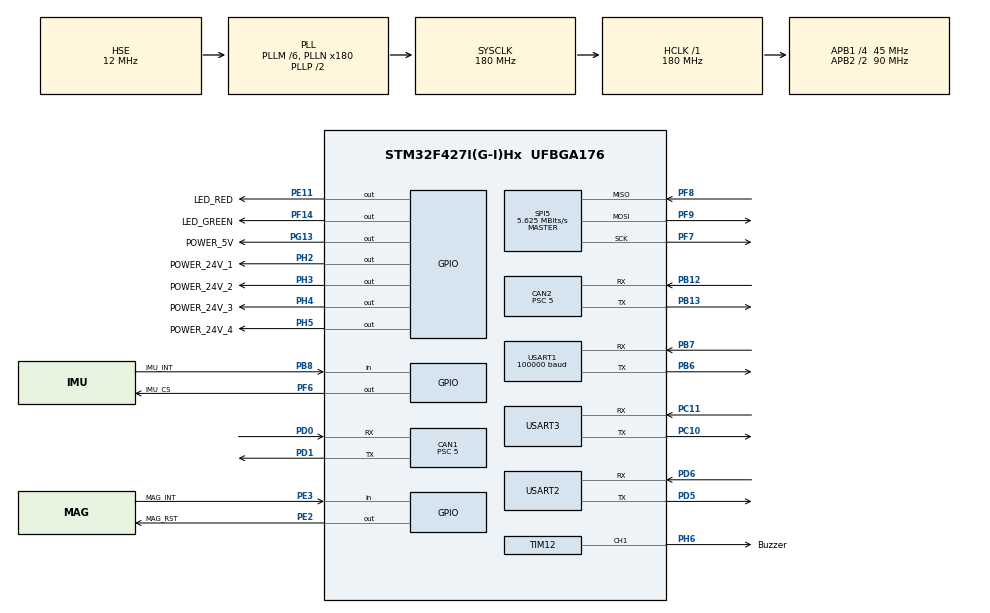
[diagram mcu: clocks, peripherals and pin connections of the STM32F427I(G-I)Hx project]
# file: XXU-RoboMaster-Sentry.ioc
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CAN1.ABOM=ENABLE
CAN1.BS1=CAN_BS1_3TQ
CAN1.BS2=CAN_BS2_5TQ
CAN1.CalculateBaudRate=1000000
CAN1.CalculateTimeBit=1000
CAN1.CalculateTimeQuantum=111.11111111111111
CAN1.NART=ENABLE
CAN1.Prescaler=5
CAN2.ABOM=ENABLE
CAN2.BS1=CAN_BS1_3TQ
CAN2.BS2=CAN_BS2_5TQ
CAN2.CalculateBaudRate=1000000
CAN2.CalculateTimeBit=1000
CAN2.CalculateTimeQuantum=111.11111111111111
CAN2.NART=ENABLE
CAN2.Prescaler=5
Dma.Request0=USART1_RX
Dma.Request1=USART3_RX
Dma.Request2=USART3_TX
Dma.Request3=USART1_TX
Dma.Request4=USART2_RX
Dma.Request5=USART2_TX
Dma.USART1_RX.0.Direction=DMA_PERIPH_TO_MEMORY
Dma.USART1_RX.0.FIFOMode=DMA_FIFOMODE_DISABLE
Dma.USART1_RX.0.Instance=DMA2_Stream2
Dma.USART1_RX.0.MemDataAlignment=DMA_MDATAALIGN_BYTE
Dma.USART1_RX.0.MemInc=DMA_MINC_ENABLE
Dma.USART1_RX.0.Mode=DMA_CIRCULAR
Dma.USART1_RX.0.PeriphDataAlignment=DMA_PDATAALIGN_BYTE
Dma.USART1_RX.0.PeriphInc=DMA_PINC_DISABLE
Dma.USART1_RX.0.Priority=DMA_PRIORITY_LOW
Dma.USART1_TX.3.Direction=DMA_MEMORY_TO_PERIPH
Dma.USART1_TX.3.FIFOMode=DMA_FIFOMODE_DISABLE
Dma.USART1_TX.3.Instance=DMA2_Stream7
Dma.USART1_TX.3.MemDataAlignment=DMA_MDATAALIGN_BYTE
Dma.USART1_TX.3.MemInc=DMA_MINC_ENABLE
Dma.USART1_TX.3.Mode=DMA_NORMAL
Dma.USART1_TX.3.PeriphDataAlignment=DMA_PDATAALIGN_BYTE
Dma.USART1_TX.3.PeriphInc=DMA_PINC_DISABLE
Dma.USART1_TX.3.Priority=DMA_PRIORITY_LOW
Dma.USART2_RX.4.Direction=DMA_PERIPH_TO_MEMORY
Dma.USART2_RX.4.FIFOMode=DMA_FIFOMODE_DISABLE
Dma.USART2_RX.4.Instance=DMA1_Stream5
Dma.USART2_RX.4.MemDataAlignment=DMA_MDATAALIGN_BYTE
Dma.USART2_RX.4.MemInc=DMA_MINC_ENABLE
Dma.USART2_RX.4.Mode=DMA_NORMAL
Dma.USART2_RX.4.PeriphDataAlignment=DMA_PDATAALIGN_BYTE
Dma.USART2_RX.4.PeriphInc=DMA_PINC_DISABLE
Dma.USART2_RX.4.Priority=DMA_PRIORITY_LOW
Dma.USART2_TX.5.Direction=DMA_MEMORY_TO_PERIPH
Dma.USART2_TX.5.FIFOMode=DMA_FIFOMODE_DISABLE
Dma.USART2_TX.5.Instance=DMA1_Stream6
Dma.USART2_TX.5.MemDataAlignment=DMA_MDATAALIGN_BYTE
Dma.USART2_TX.5.MemInc=DMA_MINC_ENABLE
Dma.USART2_TX.5.Mode=DMA_NORMAL
Dma.USART2_TX.5.PeriphDataAlignment=DMA_PDATAALIGN_BYTE
Dma.USART2_TX.5.PeriphInc=DMA_PINC_DISABLE
Dma.USART2_TX.5.Priority=DMA_PRIORITY_LOW
Dma.USART3_RX.1.Direction=DMA_PERIPH_TO_MEMORY
Dma.USART3_RX.1.FIFOMode=DMA_FIFOMODE_DISABLE
Dma.USART3_RX.1.Instance=DMA1_Stream1
Dma.USART3_RX.1.MemDataAlignment=DMA_MDATAALIGN_BYTE
Dma.USART3_RX.1.MemInc=DMA_MINC_ENABLE
Dma.USART3_RX.1.Mode=DMA_NORMAL
Dma.USART3_RX.1.PeriphDataAlignment=DMA_PDATAALIGN_BYTE
Dma.USART3_RX.1.PeriphInc=DMA_PINC_DISABLE
Dma.USART3_RX.1.Priority=DMA_PRIORITY_LOW
Dma.USART3_TX.2.Direction=DMA_MEMORY_TO_PERIPH
Dma.USART3_TX.2.FIFOMode=DMA_FIFOMODE_DISABLE
Dma.USART3_TX.2.Instance=DMA1_Stream3
Dma.USART3_TX.2.MemDataAlignment=DMA_MDATAALIGN_BYTE
Dma.USART3_TX.2.MemInc=DMA_MINC_ENABLE
Dma.USART3_TX.2.Mode=DMA_NORMAL
Dma.USART3_TX.2.PeriphDataAlignment=DMA_PDATAALIGN_BYTE
Dma.USART3_TX.2.PeriphInc=DMA_PINC_DISABLE
Dma.USART3_TX.2.Priority=DMA_PRIORITY_LOW
Mcu.Family=STM32F4
Mcu.Name=STM32F427I(G-I)Hx
Mcu.Package=UFBGA176
NVIC.CAN1_RX0_IRQn=true\:0\:0\:false\:false\:true\:true\:true\:true
NVIC.CAN2_RX0_IRQn=true\:0\:0\:false\:false\:true\:true\:true\:true
NVIC.DMA1_Stream1_IRQn=true\:0\:0\:false\:false\:true\:false\:true\:true
NVIC.DMA1_Stream3_IRQn=true\:0\:0\:false\:false\:true\:false\:true\:true
NVIC.DMA1_Stream5_IRQn=true\:0\:0\:false\:false\:true\:false\:true\:true
NVIC.DMA1_Stream6_IRQn=true\:0\:0\:false\:false\:true\:false\:true\:true
NVIC.DMA2_Stream2_IRQn=true\:0\:0\:false\:false\:true\:false\:true\:true
NVIC.DMA2_Stream7_IRQn=true\:0\:0\:false\:false\:true\:false\:true\:true
NVIC.PriorityGroup=NVIC_PRIORITYGROUP_4
NVIC.TIM2_IRQn=true\:0\:0\:false\:false\:true\:true\:true\:true
NVIC.USART1_IRQn=true\:0\:0\:false\:false\:true\:true\:true\:true
NVIC.USART3_IRQn=true\:0\:0\:false\:false\:true\:true\:true\:true
PA13.Mode=Serial_Wire
PA13.Signal=SYS_JTMS-SWDIO
PA14.Mode=Serial_Wire
PA14.Signal=SYS_JTCK-SWCLK
PB12.Mode=CAN_Activate
PB12.Signal=CAN2_RX
PB13.Mode=CAN_Activate
PB13.Signal=CAN2_TX
PB6.GPIO_PuPd=GPIO_NOPULL
PB6.Mode=Asynchronous
PB6.Signal=USART1_TX
PB7.GPIO_PuPd=GPIO_NOPULL
PB7.Mode=Asynchronous
PB7.Signal=USART1_RX
PB8.GPIO_Label=IMU_INT
PB8.GPIO_PuPd=GPIO_PULLDOWN
PB8.Signal=GPIO_Input
PC10.Mode=Asynchronous
PC10.Signal=USART3_TX
PC11.Mode=Asynchronous
PC11.Signal=USART3_RX
PD0.Mode=CAN_Activate
PD0.Signal=CAN1_RX
PD1.Mode=CAN_Activate
PD1.Signal=CAN1_TX
PD5.Mode=Asynchronous
PD5.Signal=USART2_TX
PD6.Mode=Asynchronous
PD6.Signal=USART2_RX
PE11.GPIO_Label=LED_RED
PE11.GPIO_PuPd=GPIO_PULLUP
PE11.PinState=GPIO_PIN_SET
PE11.Signal=GPIO_Output
PE2.GPIO_Label=MAG_RST
PE2.GPIO_Speed=GPIO_SPEED_FREQ_VERY_HIGH
PE2.Signal=GPIO_Output
PE3.GPIO_Label=MAG_INT
PE3.GPIO_PuPd=GPIO_PULLDOWN
PE3.Signal=GPIO_Input
PF14.GPIO_Label=LED_GREEN
PF14.GPIO_PuPd=GPIO_PULLUP
PF14.PinState=GPIO_PIN_SET
PF14.Signal=GPIO_Output
PF6.GPIO_Label=IMU_CS
PF6.GPIO_Speed=GPIO_SPEED_FREQ_VERY_HIGH
PF6.PinState=GPIO_PIN_SET
PF6.Signal=GPIO_Output
PF7.Mode=Full_Duplex_Master
PF7.Signal=SPI5_SCK
PF8.Mode=Full_Duplex_Master
PF8.Signal=SPI5_MISO
PF9.Mode=Full_Duplex_Master
PF9.Signal=SPI5_MOSI
PG13.GPIO_Label=POWER_5V
PG13.Signal=GPIO_Output
PG14.GPIO_PuPd=GPIO_NOPULL
PG14.Signal=USART6_TX
PG9.GPIO_PuPd=GPIO_NOPULL
PG9.Signal=USART6_RX
PH0/OSC_IN.Mode=HSE-External-Oscillator
PH0/OSC_IN.Signal=RCC_OSC_IN
PH1/OSC_OUT.Mode=HSE-External-Oscillator
PH1/OSC_OUT.Signal=RCC_OSC_OUT
PH2.GPIO_Label=POWER_24V_1
PH2.GPIO_PuPd=GPIO_PULLUP
PH2.PinState=GPIO_PIN_SET
PH2.Signal=GPIO_Output
PH3.GPIO_Label=POWER_24V_2
PH3.GPIO_PuPd=GPIO_PULLUP
PH3.PinState=GPIO_PIN_SET
PH3.Signal=GPIO_Output
PH4.GPIO_Label=POWER_24V_3
PH4.GPIO_PuPd=GPIO_PULLUP
PH4.PinState=GPIO_PIN_SET
PH4.Signal=GPIO_Output
PH5.GPIO_Label=POWER_24V_4
PH5.GPIO_PuPd=GPIO_PULLUP
PH5.PinState=GPIO_PIN_SET
PH5.Signal=GPIO_Output
PH6.GPIO_Label=Buzzer
PH6.Signal=S_TIM12_CH1
ProjectManager.HeapSize=0x200
ProjectManager.StackSize=0x400
ProjectManager.TargetToolchain=CMake
RCC.48MHZClocksFreq_Value=90000000
RCC.AHBFreq_Value=180000000
RCC.APB1CLKDivider=RCC_HCLK_DIV4
RCC.APB1Freq_Value=45000000
RCC.APB1TimFreq_Value=90000000
RCC.APB2CLKDivider=RCC_HCLK_DIV2
RCC.APB2Freq_Value=90000000
RCC.APB2TimFreq_Value=180000000
RCC.CortexFreq_Value=180000000
RCC.HCLKFreq_Value=180000000
RCC.HSE_VALUE=12000000
RCC.HSI_VALUE=16000000
RCC.LSE_VALUE=32768
RCC.PLLM=6
RCC.PLLN=180
RCC.PLLSourceVirtual=RCC_PLLSOURCE_HSE
RCC.SYSCLKFreq_VALUE=180000000
RCC.SYSCLKSource=RCC_SYSCLKSOURCE_PLLCLK
RCC.VCOOutputFreq_Value=360000000
SH.S_TIM12_CH1.0=TIM12_CH1,PWM Generation1 CH1
SPI5.BaudRatePrescaler=SPI_BAUDRATEPRESCALER_16
SPI5.CLKPhase=SPI_PHASE_2EDGE
SPI5.CLKPolarity=SPI_POLARITY_HIGH
SPI5.CalculateBaudRate=5.625 MBits/s
SPI5.Direction=SPI_DIRECTION_2LINES
SPI5.Mode=SPI_MODE_MASTER
SPI5.VirtualType=VM_MASTER
TIM12.Channel-PWM\ Generation1\ CH1=TIM_CHANNEL_1
TIM12.Prescaler=9-1
TIM2.AutoReloadPreload=TIM_AUTORELOAD_PRELOAD_ENABLE
TIM2.Period=200-1
TIM2.Prescaler=45-1
TIM2.TIM_MasterOutputTrigger=TIM_TRGO_RESET
USART1.BaudRate=100000
USART1.Mode=MODE_TX_RX
USART1.Parity=PARITY_EVEN
USART1.VirtualMode=VM_ASYNC
USART2.VirtualMode=VM_ASYNC
USART3.VirtualMode=VM_ASYNC
VP_TIM12_VS_ClockSourceINT.Mode=Internal
VP_TIM2_VS_ClockSourceINT.Mode=Internal
board=custom

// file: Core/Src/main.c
/* USER CODE BEGIN Header */
/**
  ******************************************************************************
  * @file           : main.c
  * @brief          : Main program body
  ******************************************************************************
  * @attention
  *
  * Copyright (c) 2025 STMicroelectronics.
  * All rights reserved.
  *
  * This software is licensed under terms that can be found in the LICENSE file
  * in the root directory of this software component.
  * If no LICENSE file comes with this software, it is provided AS-IS.
  *
  ******************************************************************************
  */
/* USER CODE END Header */
#include "main.h"

/* USER CODE BEGIN Includes */
#include "bsp.h"
#include <stdio.h>
#include "../../User_Lib/user_music.h"

/* USER CODE END Includes */

CAN_HandleTypeDef hcan1;
CAN_HandleTypeDef hcan2;

SPI_HandleTypeDef hspi5;

TIM_HandleTypeDef htim2;
TIM_HandleTypeDef htim12;

UART_HandleTypeDef huart1;
UART_HandleTypeDef huart2;
UART_HandleTypeDef huart3;
DMA_HandleTypeDef hdma_usart1_rx;
DMA_HandleTypeDef hdma_usart1_tx;
DMA_HandleTypeDef hdma_usart2_rx;
DMA_HandleTypeDef hdma_usart2_tx;
DMA_HandleTypeDef hdma_usart3_rx;
DMA_HandleTypeDef hdma_usart3_tx;

void SystemClock_Config(void);
static void MX_GPIO_Init(void);
static void MX_DMA_Init(void);
static void MX_USART1_UART_Init(void);
static void MX_CAN1_Init(void);
static void MX_CAN2_Init(void);
static void MX_TIM12_Init(void);
static void MX_TIM2_Init(void);
static void MX_USART3_UART_Init(void);
static void MX_USART2_UART_Init(void);
static void MX_SPI5_Init(void);

/* USER CODE BEGIN 0 */
  /* 航向源：云台相对底盘的角度（GM6020 绝对编码器） */
static float Chassis_Heading_Get(void) {
    return Gimbal_Get_Yaw(&user_gimbal);
}

/* 航向源可信度：
     云台从没接过 -> 可信（裸车调试，角度恒为 0，小陀螺照常能用）
     接过又掉线   -> 不可信（角度冻结，禁止自转）
     在线未对齐   -> 不可信 */
static uint8_t Chassis_Source_Valid(void) {
    return Gimbal_Is_Reliable(&user_gimbal);
}
/* USER CODE END 0 */

int main(void)
{

  /* MCU Configuration--------------------------------------------------------*/

  /* Reset of all peripherals, Initializes the Flash interface and the Systick. */
  HAL_Init();

  /* Configure the system clock */
  SystemClock_Config();

  /* Initialize all configured peripherals */
  MX_GPIO_Init();
  MX_DMA_Init();
  MX_USART1_UART_Init();
  MX_CAN1_Init();
  MX_CAN2_Init();
  MX_TIM12_Init();
  MX_TIM2_Init();
  MX_USART3_UART_Init();
  MX_USART2_UART_Init();
  MX_SPI5_Init();
  /* USER CODE BEGIN 2 */
  /* JScope 采样节拍 */
  JScope_Init(&htim2);
  TIMER_Init(&user_timer_2, &htim2, APB1_TIM_CLK);
  TIMER_RegisterCallback(&user_timer_2, ChassisControl_JScopeCallback);

  /* USART3 接姿态传感器 */
  UART_Init(&user_imu_uart, &huart3);

  /* 状态灯 */
  LED_Init(&user_red_led, LED_RED_GPIO_Port, LED_RED_Pin, 1);
  LED_Init(&user_green_led, LED_GREEN_GPIO_Port, LED_GREEN_Pin, 1);
  LED_On(&user_green_led);

  /* 蜂鸣器与开机音乐 */
  Buzzer_Init(&user_buzzer_1, &htim12, TIM_CHANNEL_1, 90000000);
  StartupMusic_Init(&user_startup_music, &user_buzzer_1, &user_startup_music_task,
                    dji_starting_music, sizeof(dji_starting_music) / sizeof(dji_starting_music[0]));
  StartupMusic_Start(&user_startup_music);

  /* CAN 总线 */
  CAN_Init(&user_can_1, &hcan1);
  CAN_Init(&user_can_2, &hcan2);

  /* 底盘电机：4 个 M3508 共用 0x200 帧
     ID 按实际接线：左前=2  右前=3  左后=1  右后=4 */
  PID_Init(&user_wheel_pid_fl, CHASSIS_SPEED_KP, CHASSIS_SPEED_KI, CHASSIS_SPEED_KD,
           CHASSIS_SPEED_MAX_OUT, CHASSIS_SPEED_MAX_IOUT);
  PID_Init(&user_wheel_pid_fr, CHASSIS_SPEED_KP, CHASSIS_SPEED_KI, CHASSIS_SPEED_KD,
           CHASSIS_SPEED_MAX_OUT, CHASSIS_SPEED_MAX_IOUT);
  PID_Init(&user_wheel_pid_rl, CHASSIS_SPEED_KP, CHASSIS_SPEED_KI, CHASSIS_SPEED_KD,
           CHASSIS_SPEED_MAX_OUT, CHASSIS_SPEED_MAX_IOUT);
  PID_Init(&user_wheel_pid_rr, CHASSIS_SPEED_KP, CHASSIS_SPEED_KI, CHASSIS_SPEED_KD,
           CHASSIS_SPEED_MAX_OUT, CHASSIS_SPEED_MAX_IOUT);

  DJI_Motor_Init(&user_wheel_fl, &user_can_1, 2, 0.0f, M3508_gear, Rotor_speed,
                 (CONTROLLER_INTERFACE*)&user_wheel_pid_fl);
  DJI_Motor_Init(&user_wheel_fr, &user_can_1, 3, 0.0f, M3508_gear, Rotor_speed,
                 (CONTROLLER_INTERFACE*)&user_wheel_pid_fr);
  DJI_Motor_Init(&user_wheel_rl, &user_can_1, 1, 0.0f, M3508_gear, Rotor_speed,
                 (CONTROLLER_INTERFACE*)&user_wheel_pid_rl);
  DJI_Motor_Init(&user_wheel_rr, &user_can_1, 4, 0.0f, M3508_gear, Rotor_speed,
                 (CONTROLLER_INTERFACE*)&user_wheel_pid_rr);

  /* 底盘对象 */
  Chassis_Init(&user_chassis,
               (MOTOR_INTERFACE*)&user_wheel_fl, (MOTOR_INTERFACE*)&user_wheel_fr,
               (MOTOR_INTERFACE*)&user_wheel_rl, (MOTOR_INTERFACE*)&user_wheel_rr);

  /* 遥控器与姿态传感器 */
  DBUS_Init(&user_dbus, &huart1);
  HWT906_Init(&user_imu, &user_imu_uart);

  /* 板载 IMU：SPI5 + 姿态解算 */
  SPI_Init(&user_spi_5, &hspi5, IMU_CS_GPIO_Port, IMU_CS_Pin);
  MPU6500_Init(&user_mpu6500, &user_spi_5, 1);
  Attitude_Init(&user_attitude, &user_mpu6500, 0.001f);

  /* USART2 串口绘图 / 在线调参 */
  UART_Init(&user_serialplot_uart, &huart2);

  /* ---- 串口自检探针（调试用，确认通了可以删）----------------------------
     用【阻塞】方式直接发，绕过 TX 队列和 DMA，专门用来区分故障位置：
       串口助手里【看到】 SERIALPLOT OK  -> 引脚/接线/波特率都 OK，
                                            问题在 TX 队列或 DMA
       串口助手【看不到】                 -> 硬件接线问题：
                                            TX/RX 接反了？GND 没接？
     ⚠️ 注意：这里发的是 ASCII 文本，串口助手要用【文本】模式看；
        而正常绘图的帧是二进制，要用【HEX】模式看才算数 */
  {
    static const char selftest[] = "SERIALPLOT OK\r\n";
    HAL_UART_Transmit(&huart2, (uint8_t*)selftest, sizeof(selftest) - 1, 100);
  }
  uint8_t tunable_num = 0;
  Serialplot_Init(&user_serialplot, &user_serialplot_uart,
                  ChassisControl_Get_Tunable(&tunable_num), tunable_num,
                  CHASSIS_SERIALPLOT_PERIOD_MS);
#if   CHASSIS_SERIALPLOT_MODE == 2
  /* 云台 yaw 调试（5 通道）：
       gyaw 云台相对底盘角 theta  |  gtgt 世界目标角  |  gimu IMU实测世界角
       gcmd 目标转速 RPM          |  gspd 实际转速 RPM
     看 gtgt/gimu 是否贴合 -> 锁世界效果
     看 gcmd/gspd 是否贴合 -> 电机速度环跟不跟得上 */
  Serialplot_Set_Data(&user_serialplot, 5,
                      &user_gimbal.yaw, &user_gimbal.target_yaw,
                      &user_gimbal.imu_yaw, &user_gimbal.target_speed,
                      &user_gimbal.speed);
#elif CHASSIS_SERIALPLOT_MODE == 1
  /* 4 轮目标 / 反馈转子转速 */
  Serialplot_Set_Data(&user_serialplot, 8,
                      &user_chassis.rpm[0], &user_chassis.rpm_fdb[0],
                      &user_chassis.rpm[1], &user_chassis.rpm_fdb[1],
                      &user_chassis.rpm[2], &user_chassis.rpm_fdb[2],
                      &user_chassis.rpm[3], &user_chassis.rpm_fdb[3]);
#else
  Serialplot_Set_Data(&user_serialplot, 4, &user_attitude.yaw, &user_attitude.pitch,
                      &user_chassis.omega, &user_chassis.vx);
#endif

  /* 云台 yaw：GM6020，绝对编码器提供云台相对底盘的角度 */
  PID_Init(&user_gimbal_yaw_pid, GIMBAL_YAW_KP, GIMBAL_YAW_KI, GIMBAL_YAW_KD,
           GIMBAL_YAW_MAX_OUT, GIMBAL_YAW_MAX_IOUT);
  /* ★ Rotor_speed：云台 yaw 用转速模式，锁世界的外环在 gimbal.c 里 */
  DJI_Motor_Init(&user_gimbal_yaw_motor, &user_can_1, GIMBAL_YAW_MOTOR_ID, 0.0f,
                 GM6020, Rotor_speed, (CONTROLLER_INTERFACE*)&user_gimbal_yaw_pid);
  DJI_Motor_Set_Power_Limit(&user_gimbal_yaw_motor, GIMBAL_YAW_POWER_LIMIT);
  Gimbal_Init(&user_gimbal, &user_gimbal_yaw_motor);

  /* 底盘控制任务 1kHz */
  ChassisControl_Init(&user_chassis, &user_dbus);

  /* 挂航向源 */
  ChassisControl_Set_HeadingSource(Chassis_Heading_Get);
  ChassisControl_Set_SourceValid(Chassis_Source_Valid);
  SysTick_InitTask(&chassis_task, NULL, CHASSIS_PERIOD_MS, CHASSIS_PERIOD_MS,
                   Task_REPEAT, ChassisControl_Task);
  SysTick_StartTask(&chassis_task);

  /* 红灯闪烁 */
  SysTick_InitTask(&LED_Blink_Task, &user_red_led, 10, 800, Task_REPEAT, LED_Blink_Callback);
  SysTick_StartTask(&LED_Blink_Task);

  /* USER CODE END 2 */

  /* Infinite loop */
  while (1)
  {

    /* USER CODE BEGIN 3 */
    LOOP_EVENT_Handle();
  }
  /* USER CODE END 3 */
}

void SystemClock_Config(void)
{
  RCC_OscInitTypeDef RCC_OscInitStruct = {0};
  RCC_ClkInitTypeDef RCC_ClkInitStruct = {0};

  /** Configure the main internal regulator output voltage
  */
  __HAL_RCC_PWR_CLK_ENABLE();
  __HAL_PWR_VOLTAGESCALING_CONFIG(PWR_REGULATOR_VOLTAGE_SCALE1);

  /** Initializes the RCC Oscillators according to the specified parameters
  * in the RCC_OscInitTypeDef structure.
  */
  RCC_OscInitStruct.OscillatorType = RCC_OSCILLATORTYPE_HSE;
  RCC_OscInitStruct.HSEState = RCC_HSE_ON;
  RCC_OscInitStruct.PLL.PLLState = RCC_PLL_ON;
  RCC_OscInitStruct.PLL.PLLSource = RCC_PLLSOURCE_HSE;
  RCC_OscInitStruct.PLL.PLLM = 6;
  RCC_OscInitStruct.PLL.PLLN = 180;
  RCC_OscInitStruct.PLL.PLLP = RCC_PLLP_DIV2;
  RCC_OscInitStruct.PLL.PLLQ = 4;
  if (HAL_RCC_OscConfig(&RCC_OscInitStruct) != HAL_OK)
  {
    Error_Handler();
  }

  /** Activate the Over-Drive mode
  */
  if (HAL_PWREx_EnableOverDrive() != HAL_OK)
  {
    Error_Handler();
  }

  /** Initializes the CPU, AHB and APB buses clocks
  */
  RCC_ClkInitStruct.ClockType = RCC_CLOCKTYPE_HCLK|RCC_CLOCKTYPE_SYSCLK
                              |RCC_CLOCKTYPE_PCLK1|RCC_CLOCKTYPE_PCLK2;
  RCC_ClkInitStruct.SYSCLKSource = RCC_SYSCLKSOURCE_PLLCLK;
  RCC_ClkInitStruct.AHBCLKDivider = RCC_SYSCLK_DIV1;
  RCC_ClkInitStruct.APB1CLKDivider = RCC_HCLK_DIV4;
  RCC_ClkInitStruct.APB2CLKDivider = RCC_HCLK_DIV2;

  if (HAL_RCC_ClockConfig(&RCC_ClkInitStruct, FLASH_LATENCY_5) != HAL_OK)
  {
    Error_Handler();
  }
}

static void MX_CAN1_Init(void)
{

  hcan1.Instance = CAN1;
  hcan1.Init.Prescaler = 5;
  hcan1.Init.Mode = CAN_MODE_NORMAL;
  hcan1.Init.SyncJumpWidth = CAN_SJW_1TQ;
  hcan1.Init.TimeSeg1 = CAN_BS1_3TQ;
  hcan1.Init.TimeSeg2 = CAN_BS2_5TQ;
  hcan1.Init.TimeTriggeredMode = DISABLE;
  hcan1.Init.AutoBusOff = ENABLE;
  hcan1.Init.AutoWakeUp = DISABLE;
  hcan1.Init.AutoRetransmission = ENABLE;
  hcan1.Init.ReceiveFifoLocked = DISABLE;
  hcan1.Init.TransmitFifoPriority = DISABLE;
  if (HAL_CAN_Init(&hcan1) != HAL_OK)
  {
    Error_Handler();
  }

}

static void MX_CAN2_Init(void)
{

  hcan2.Instance = CAN2;
  hcan2.Init.Prescaler = 5;
  hcan2.Init.Mode = CAN_MODE_NORMAL;
  hcan2.Init.SyncJumpWidth = CAN_SJW_1TQ;
  hcan2.Init.TimeSeg1 = CAN_BS1_3TQ;
  hcan2.Init.TimeSeg2 = CAN_BS2_5TQ;
  hcan2.Init.TimeTriggeredMode = DISABLE;
  hcan2.Init.AutoBusOff = ENABLE;
  hcan2.Init.AutoWakeUp = DISABLE;
  hcan2.Init.AutoRetransmission = ENABLE;
  hcan2.Init.ReceiveFifoLocked = DISABLE;
  hcan2.Init.TransmitFifoPriority = DISABLE;
  if (HAL_CAN_Init(&hcan2) != HAL_OK)
  {
    Error_Handler();
  }

}

static void MX_SPI5_Init(void)
{

  /* SPI5 parameter configuration*/
  hspi5.Instance = SPI5;
  hspi5.Init.Mode = SPI_MODE_MASTER;
  hspi5.Init.Direction = SPI_DIRECTION_2LINES;
  hspi5.Init.DataSize = SPI_DATASIZE_8BIT;
  hspi5.Init.CLKPolarity = SPI_POLARITY_HIGH;
  hspi5.Init.CLKPhase = SPI_PHASE_2EDGE;
  hspi5.Init.NSS = SPI_NSS_SOFT;
  hspi5.Init.BaudRatePrescaler = SPI_BAUDRATEPRESCALER_16;
  hspi5.Init.FirstBit = SPI_FIRSTBIT_MSB;
  hspi5.Init.TIMode = SPI_TIMODE_DISABLE;
  hspi5.Init.CRCCalculation = SPI_CRCCALCULATION_DISABLE;
  hspi5.Init.CRCPolynomial = 10;
  if (HAL_SPI_Init(&hspi5) != HAL_OK)
  {
    Error_Handler();
  }

}

static void MX_TIM2_Init(void)
{

  TIM_ClockConfigTypeDef sClockSourceConfig = {0};
  TIM_MasterConfigTypeDef sMasterConfig = {0};

  htim2.Instance = TIM2;
  htim2.Init.Prescaler = 45-1;
  htim2.Init.CounterMode = TIM_COUNTERMODE_UP;
  htim2.Init.Period = 200-1;
  htim2.Init.ClockDivision = TIM_CLOCKDIVISION_DIV1;
  htim2.Init.AutoReloadPreload = TIM_AUTORELOAD_PRELOAD_ENABLE;
  if (HAL_TIM_Base_Init(&htim2) != HAL_OK)
  {
    Error_Handler();
  }
  sClockSourceConfig.ClockSource = TIM_CLOCKSOURCE_INTERNAL;
  if (HAL_TIM_ConfigClockSource(&htim2, &sClockSourceConfig) != HAL_OK)
  {
    Error_Handler();
  }
  sMasterConfig.MasterOutputTrigger = TIM_TRGO_RESET;
  sMasterConfig.MasterSlaveMode = TIM_MASTERSLAVEMODE_DISABLE;
  if (HAL_TIMEx_MasterConfigSynchronization(&htim2, &sMasterConfig) != HAL_OK)
  {
    Error_Handler();
  }

}

static void MX_TIM12_Init(void)
{

  TIM_ClockConfigTypeDef sClockSourceConfig = {0};
  TIM_OC_InitTypeDef sConfigOC = {0};

  htim12.Instance = TIM12;
  htim12.Init.Prescaler = 9-1;
  htim12.Init.CounterMode = TIM_COUNTERMODE_UP;
  htim12.Init.Period = 65535;
  htim12.Init.ClockDivision = TIM_CLOCKDIVISION_DIV1;
  htim12.Init.AutoReloadPreload = TIM_AUTORELOAD_PRELOAD_DISABLE;
  if (HAL_TIM_Base_Init(&htim12) != HAL_OK)
  {
    Error_Handler();
  }
  sClockSourceConfig.ClockSource = TIM_CLOCKSOURCE_INTERNAL;
  if (HAL_TIM_ConfigClockSource(&htim12, &sClockSourceConfig) != HAL_OK)
  {
    Error_Handler();
  }
  if (HAL_TIM_PWM_Init(&htim12) != HAL_OK)
  {
    Error_Handler();
  }
  sConfigOC.OCMode = TIM_OCMODE_PWM1;
  sConfigOC.Pulse = 0;
  sConfigOC.OCPolarity = TIM_OCPOLARITY_HIGH;
  sConfigOC.OCFastMode = TIM_OCFAST_DISABLE;
  if (HAL_TIM_PWM_ConfigChannel(&htim12, &sConfigOC, TIM_CHANNEL_1) != HAL_OK)
  {
    Error_Handler();
  }
  HAL_TIM_MspPostInit(&htim12);

}

static void MX_USART1_UART_Init(void)
{

  huart1.Instance = USART1;
  huart1.Init.BaudRate = 100000;
  huart1.Init.WordLength = UART_WORDLENGTH_8B;
  huart1.Init.StopBits = UART_STOPBITS_1;
  huart1.Init.Parity = UART_PARITY_EVEN;
  huart1.Init.Mode = UART_MODE_TX_RX;
  huart1.Init.HwFlowCtl = UART_HWCONTROL_NONE;
  huart1.Init.OverSampling = UART_OVERSAMPLING_16;
  if (HAL_UART_Init(&huart1) != HAL_OK)
  {
    Error_Handler();
  }

}

static void MX_USART2_UART_Init(void)
{

  huart2.Instance = USART2;
  huart2.Init.BaudRate = 115200;
  huart2.Init.WordLength = UART_WORDLENGTH_8B;
  huart2.Init.StopBits = UART_STOPBITS_1;
  huart2.Init.Parity = UART_PARITY_NONE;
  huart2.Init.Mode = UART_MODE_TX_RX;
  huart2.Init.HwFlowCtl = UART_HWCONTROL_NONE;
  huart2.Init.OverSampling = UART_OVERSAMPLING_16;
  if (HAL_UART_Init(&huart2) != HAL_OK)
  {
    Error_Handler();
  }

}

static void MX_USART3_UART_Init(void)
{

  huart3.Instance = USART3;
  huart3.Init.BaudRate = 115200;
  huart3.Init.WordLength = UART_WORDLENGTH_8B;
  huart3.Init.StopBits = UART_STOPBITS_1;
  huart3.Init.Parity = UART_PARITY_NONE;
  huart3.Init.Mode = UART_MODE_TX_RX;
  huart3.Init.HwFlowCtl = UART_HWCONTROL_NONE;
  huart3.Init.OverSampling = UART_OVERSAMPLING_16;
  if (HAL_UART_Init(&huart3) != HAL_OK)
  {
    Error_Handler();
  }

}

static void MX_DMA_Init(void)
{

  /* DMA controller clock enable */
  __HAL_RCC_DMA2_CLK_ENABLE();
  __HAL_RCC_DMA1_CLK_ENABLE();

  /* DMA interrupt init */
  /* DMA1_Stream1_IRQn interrupt configuration */
  HAL_NVIC_SetPriority(DMA1_Stream1_IRQn, 0, 0);
  HAL_NVIC_EnableIRQ(DMA1_Stream1_IRQn);
  /* DMA1_Stream3_IRQn interrupt configuration */
  HAL_NVIC_SetPriority(DMA1_Stream3_IRQn, 0, 0);
  HAL_NVIC_EnableIRQ(DMA1_Stream3_IRQn);
  /* DMA1_Stream5_IRQn interrupt configuration */
  HAL_NVIC_SetPriority(DMA1_Stream5_IRQn, 0, 0);
  HAL_NVIC_EnableIRQ(DMA1_Stream5_IRQn);
  /* DMA1_Stream6_IRQn interrupt configuration */
  HAL_NVIC_SetPriority(DMA1_Stream6_IRQn, 0, 0);
  HAL_NVIC_EnableIRQ(DMA1_Stream6_IRQn);
  /* DMA2_Stream2_IRQn interrupt configuration */
  HAL_NVIC_SetPriority(DMA2_Stream2_IRQn, 0, 0);
  HAL_NVIC_EnableIRQ(DMA2_Stream2_IRQn);
  /* DMA2_Stream7_IRQn interrupt configuration */
  HAL_NVIC_SetPriority(DMA2_Stream7_IRQn, 0, 0);
  HAL_NVIC_EnableIRQ(DMA2_Stream7_IRQn);

}

static void MX_GPIO_Init(void)
{
  GPIO_InitTypeDef GPIO_InitStruct = {0};

  /* GPIO Ports Clock Enable */
  __HAL_RCC_GPIOE_CLK_ENABLE();
  __HAL_RCC_GPIOB_CLK_ENABLE();
  __HAL_RCC_GPIOG_CLK_ENABLE();
  __HAL_RCC_GPIOA_CLK_ENABLE();
  __HAL_RCC_GPIOD_CLK_ENABLE();
  __HAL_RCC_GPIOC_CLK_ENABLE();
  __HAL_RCC_GPIOH_CLK_ENABLE();
  __HAL_RCC_GPIOF_CLK_ENABLE();

  /*Configure GPIO pin Output Level */
  HAL_GPIO_WritePin(MAG_RST_GPIO_Port, MAG_RST_Pin, GPIO_PIN_RESET);

  /*Configure GPIO pin Output Level */
  HAL_GPIO_WritePin(POWER_5V_GPIO_Port, POWER_5V_Pin, GPIO_PIN_RESET);

  /*Configure GPIO pin Output Level */
  HAL_GPIO_WritePin(GPIOH, POWER_24V_1_Pin|POWER_24V_2_Pin|POWER_24V_3_Pin|POWER_24V_4_Pin, GPIO_PIN_SET);

  /*Configure GPIO pin Output Level */
  HAL_GPIO_WritePin(GPIOF, IMU_CS_Pin|LED_GREEN_Pin, GPIO_PIN_SET);

  /*Configure GPIO pin Output Level */
  HAL_GPIO_WritePin(LED_RED_GPIO_Port, LED_RED_Pin, GPIO_PIN_SET);

  /*Configure GPIO pin : MAG_INT_Pin */
  GPIO_InitStruct.Pin = MAG_INT_Pin;
  GPIO_InitStruct.Mode = GPIO_MODE_INPUT;
  GPIO_InitStruct.Pull = GPIO_PULLDOWN;
  HAL_GPIO_Init(MAG_INT_GPIO_Port, &GPIO_InitStruct);

  /*Configure GPIO pin : MAG_RST_Pin */
  GPIO_InitStruct.Pin = MAG_RST_Pin;
  GPIO_InitStruct.Mode = GPIO_MODE_OUTPUT_PP;
  GPIO_InitStruct.Pull = GPIO_NOPULL;
  GPIO_InitStruct.Speed = GPIO_SPEED_FREQ_VERY_HIGH;
  HAL_GPIO_Init(MAG_RST_GPIO_Port, &GPIO_InitStruct);

  /*Configure GPIO pin : IMU_INT_Pin */
  GPIO_InitStruct.Pin = IMU_INT_Pin;
  GPIO_InitStruct.Mode = GPIO_MODE_INPUT;
  GPIO_InitStruct.Pull = GPIO_PULLDOWN;
  HAL_GPIO_Init(IMU_INT_GPIO_Port, &GPIO_InitStruct);

  /*Configure GPIO pins : PG14 PG9 */
  GPIO_InitStruct.Pin = GPIO_PIN_14|GPIO_PIN_9;
  GPIO_InitStruct.Mode = GPIO_MODE_AF_PP;
  GPIO_InitStruct.Pull = GPIO_NOPULL;
  GPIO_InitStruct.Speed = GPIO_SPEED_FREQ_VERY_HIGH;
  GPIO_InitStruct.Alternate = GPIO_AF8_USART6;
  HAL_GPIO_Init(GPIOG, &GPIO_InitStruct);

  /*Configure GPIO pin : POWER_5V_Pin */
  GPIO_InitStruct.Pin = POWER_5V_Pin;
  GPIO_InitStruct.Mode = GPIO_MODE_OUTPUT_PP;
  GPIO_InitStruct.Pull = GPIO_NOPULL;
  GPIO_InitStruct.Speed = GPIO_SPEED_FREQ_LOW;
  HAL_GPIO_Init(POWER_5V_GPIO_Port, &GPIO_InitStruct);

  /*Configure GPIO pins : POWER_24V_1_Pin POWER_24V_2_Pin POWER_24V_3_Pin POWER_24V_4_Pin */
  GPIO_InitStruct.Pin = POWER_24V_1_Pin|POWER_24V_2_Pin|POWER_24V_3_Pin|POWER_24V_4_Pin;
  GPIO_InitStruct.Mode = GPIO_MODE_OUTPUT_PP;
  GPIO_InitStruct.Pull = GPIO_PULLUP;
  GPIO_InitStruct.Speed = GPIO_SPEED_FREQ_LOW;
  HAL_GPIO_Init(GPIOH, &GPIO_InitStruct);

  /*Configure GPIO pin : IMU_CS_Pin */
  GPIO_InitStruct.Pin = IMU_CS_Pin;
  GPIO_InitStruct.Mode = GPIO_MODE_OUTPUT_PP;
  GPIO_InitStruct.Pull = GPIO_NOPULL;
  GPIO_InitStruct.Speed = GPIO_SPEED_FREQ_VERY_HIGH;
  HAL_GPIO_Init(IMU_CS_GPIO_Port, &GPIO_InitStruct);

  /*Configure GPIO pin : LED_RED_Pin */
  GPIO_InitStruct.Pin = LED_RED_Pin;
  GPIO_InitStruct.Mode = GPIO_MODE_OUTPUT_PP;
  GPIO_InitStruct.Pull = GPIO_PULLUP;
  GPIO_InitStruct.Speed = GPIO_SPEED_FREQ_LOW;
  HAL_GPIO_Init(LED_RED_GPIO_Port, &GPIO_InitStruct);

  /*Configure GPIO pin : LED_GREEN_Pin */
  GPIO_InitStruct.Pin = LED_GREEN_Pin;
  GPIO_InitStruct.Mode = GPIO_MODE_OUTPUT_PP;
  GPIO_InitStruct.Pull = GPIO_PULLUP;
  GPIO_InitStruct.Speed = GPIO_SPEED_FREQ_LOW;
  HAL_GPIO_Init(LED_GREEN_GPIO_Port, &GPIO_InitStruct);

}

void Error_Handler(void)
{
  __disable_irq();
  while (1)
  {
  }
}
